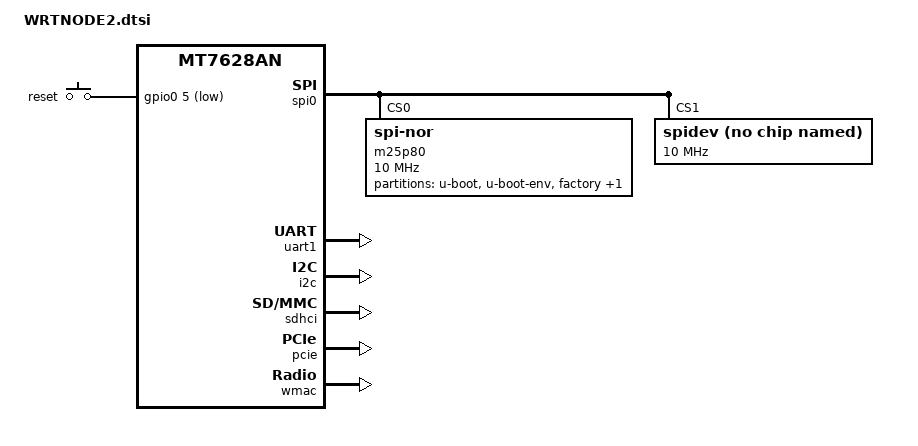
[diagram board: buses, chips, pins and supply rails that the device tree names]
#include "mt7628an.dtsi"

#include <dt-bindings/gpio/gpio.h>
#include <dt-bindings/input/input.h>

/ {
	compatible = "wrtnode,wrtnode2", "mediatek,mt7628an-soc";

	chosen {
		bootargs = "console=ttyS0,115200";
	};

	keys {
		compatible = "gpio-keys-polled";
		poll-interval = <20>;

		reset {
			label = "reset";
			gpios = <&gpio0 5 GPIO_ACTIVE_LOW>;
			linux,code = <KEY_RESTART>;
		};
	};
};

&spi0 {
	status = "okay";

	m25p80@0 {
		compatible = "jedec,spi-nor";
		reg = <0>;
		spi-max-frequency = <10000000>;

		partitions {
			compatible = "fixed-partitions";
			#address-cells = <1>;
			#size-cells = <1>;

			partition@0 {
				label = "u-boot";
				reg = <0x0 0x30000>;
				read-only;
			};

			partition@30000 {
				label = "u-boot-env";
				reg = <0x30000 0x10000>;
				read-only;
			};

			factory: partition@40000 {
				label = "factory";
				reg = <0x40000 0x10000>;
				read-only;
			};

			partition@50000 {
				compatible = "denx,uimage";
				label = "firmware";
				reg = <0x50000 0x1fb0000>;
			};
		};
	};

	spidev@1 {
		#address-cells = <1>;
		#size-cells = <1>;
		compatible = "linux,spidev";
		reg = <1>;
		spi-max-frequency = <10000000>;
	};
};

&uart1 {
	status = "okay";
};

&i2c {
	status = "okay";
};

&ethernet {
	mtd-mac-address = <&factory 0x4>;
	mediatek,portmap = "llllw";
};

&sdhci {
	status = "okay";
};

&pcie {
	status = "okay";
};

&wmac {
	status = "okay";
};
